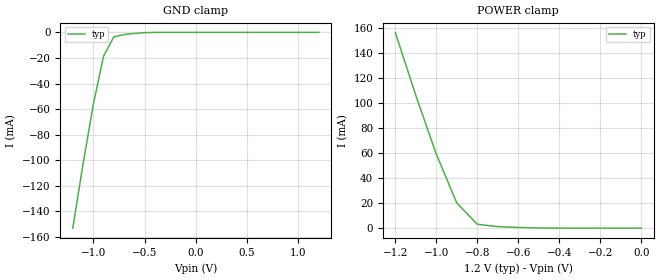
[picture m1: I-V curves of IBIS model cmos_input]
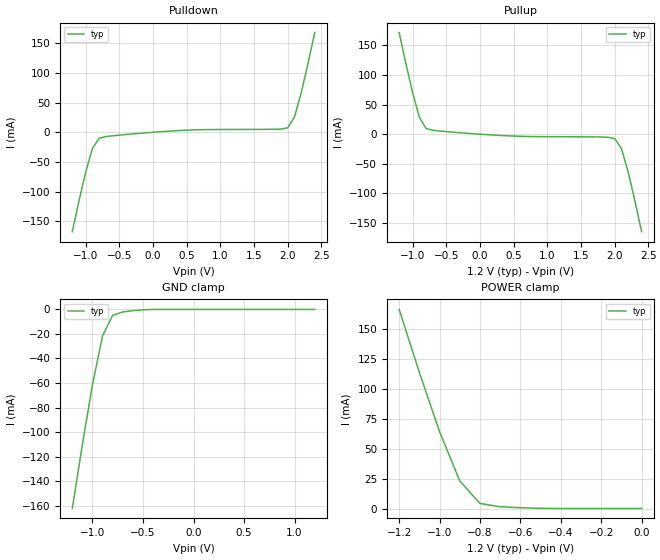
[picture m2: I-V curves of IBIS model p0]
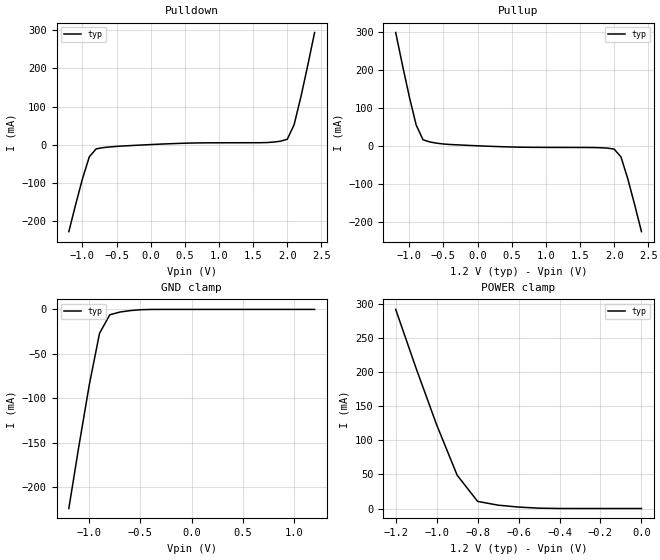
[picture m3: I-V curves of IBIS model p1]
|   This file is an IBIS representation of the   |
|   analog devices   |
|   AD9361   |
|=================== Header Section -------------------------------------------|
[IBIS Ver]  3.2
[File Name] ad9361_1p2_cmos_r2.ibs
[File Rev]  1.0
[Source]   This file originated at Analog Devices.
[Date]   10-31-2011
[Notes]   Quality Check Passes IBIS Checker.
[Disclaimer]
|   This IBIS model is provided "AS IS, Where IS, AND WITH NO
|   WARRANTY OF ANY KINND EITHER EXPRESSED OR IMPLIED, INCLUDING
|   BUT NOT LIMITED TO ANY IMPLIED WARRANTIES OF MECHANTABILITY
|   AND FITNESS FOR A PARTICULAR PURPOSE."
|   In no event will Analog Devices be liable for special, colloateral,
|   incidental, or consequential damages in connection with or
|   arising out of the use of this IBIS model. Analog Devices reserves
|   the right to make changes to the products and IBIS models without
|   prior notice.
[Copyright]   copyright (c)2010 Analog Devices, All rights reserved.
[Component] AD9361
[Manufacturer] Analog Devices
[Package]
|Variable typ   min   max
R_pkg  0.350ohms   NA   NA
L_pkg  2.0nH   NA   NA
C_pkg  .50pF   NA   NA
[Pin]   signal_name   model_name   R_pin   L_pin   C_pin
A1   RX2A_N   NC   NA   NA   NA
A2   RX2A_P   NC   NA   NA   NA
A3   RX2_SA_LNA_OUT   NC   NA   NA   NA
A4   RX2_SA_LNA_IN   NC   NA   NA   NA
A5   TX_MON2   NC   NA   NA   NA
A6   VSSA   NC   NA   NA   NA
A7   TX2A_N   NC   NA   NA   NA
A8   TX2A_P   NC   NA   NA   NA
A9   TX2B_N   NC   NA   NA   NA
A10   TX2B_P   NC   NA   NA   NA
A11   VDDA1P1_TX_VCO   NC   NA   NA   NA
A12   TX_EXT_LO_IN   NC   NA   NA   NA
B1   VSSA   GND   NA   NA   NA
B2   VSSA   GND   NA   NA   NA
B3   AUXDAC1   NC   NA   NA   NA
B4   GPO_3   GPO   NA   NA   NA
B5   GPO_2   GPO   NA   NA   NA
B6   GPO_1   GPO   NA   NA   NA
B7   GPO_0   GPO   NA   NA   NA
B8   VDDA_GPO   POWER   NA   NA   NA
B9   VDDA1P3_TX_LO   POWER   NA   NA   NA
B10   VDDA1P3_TX_VCO_LDO   POWER   NA   NA   NA
B11   TX_VCO_LDO_OUT   NC   NA   NA   NA
B12   VSSA   GND   NA   NA   NA
C1   RX2C_P   NC   NA   NA   NA
C2   VSSA   GND   NA   NA   NA
C3   AUXDAC2   NC   NA   NA   NA
C4   TEST/ENABLE   cmos_input   NA   NA   NA
C5   CTRL_IN0   cmos_input   NA   NA   NA
C6   CTRL_IN1   cmos_input   NA   NA   NA
C7   VSSA   GND   NA   NA   NA
C8   VSSA   GND   NA   NA   NA
C9   VSSA   GND   NA   NA   NA
C10   VSSA   GND   NA   NA   NA
C11   VSSA   GND   NA   NA   NA
C12   VSSA   GND   NA   NA   NA
D1   RX2C_N   NC   NA   NA   NA
D2   VDDA1P3_RX_RF   POWER   NA   NA   NA
D3   VDDA1P3_RX_TX   POWER   NA   NA   NA
D4   CTRL_OUT0   cmos_output   NA   NA   NA
D5   CTRL_IN3   cmos_input   NA   NA   NA
D6   CTRL_IN2   cmos_input   NA   NA   NA
D7   P0_D9-TX_D4_P   p0   NA   NA   NA
D8   P0_D7-TX_D3_P   p0   NA   NA   NA
D9   P0_D5-TX_D2_P   p0   NA   NA   NA
D10   P0_D3-TX_D1_P   p0   NA   NA   NA
D11   P0_D1-TX_D0_P   p0   NA   NA   NA
D12   VSSD   GND   NA   NA   NA
E1   RX2B_P   NC   NA   NA   NA
E2   VDDA1P3_RX_LO   NC   NA   NA   NA
E3   VDDA1P3_TX_LO_BUFFER  POWER   NA   NA   NA
E4   CTRL_OUT1   cmos_output   NA   NA   NA
E5   CTRL_OUT2   cmos_output   NA   NA   NA
E6   CTRL_OUT3   cmos_output   NA   NA   NA
E7   P0_D11-TX_D5_P   p0   NA   NA   NA
E8   P0_D8-TX_D4_N   p0   NA   NA   NA
E9   P0_D6-TX_D3_N   p0   NA   NA   NA
E10   P0_D4-TX_D2_N   p0   NA   NA   NA
E11   P0_D2-TX_D1_N   p0   NA   NA   NA
E12   P0_D0-TX_D0_N   p0   NA   NA   NA
F1   RX2B_N   NC   NA   NA   NA
F2   VDDA1P3_RX_VCO_LDO   POWER   NA   NA   NA
F3   VSSA   GND   NA   NA   NA
F4   CTRL_OUT6   cmos_output   NA   NA   NA
F5   CTRL_OUT5   cmos_output   NA   NA   NA
F6   CTRL_OUT4   cmos_output   NA   NA   NA
F7   VSSD   GND   NA   NA   NA
F8   P0_D10-TX_D5_N   p0   NA   NA   NA
F9   VSSD   GND   NA   NA   NA
F10   FB_CLK_P   cmos_input   NA   NA   NA
F11   VSSD   GND   NA   NA   NA
F12   VDDD1P3_DIG   POWER   NA   NA   NA
G1   RX_EXT_LO_IN   NC   NA   NA   NA
G2   RX_VCO_LDO_OUT   NC   NA   NA   NA
G3   VDDA1P1_RX_VCO   NC   NA   NA   NA
G4   CTRL_OUT7   cmos_output   NA   NA   NA
G5   EN_AGC   cmos_input   NA   NA   NA
G6   ENABLE   cmos_input   NA   NA   NA
G7   RX_FRAME_N   cmos_output   NA   NA   NA
G8   RX_FRAME_P   cmos_output   NA   NA   NA
G9   TX_FRAME_P   cmos_input   NA   NA   NA
G10   FB_CLK_N   cmos_input   NA   NA   NA
G11   DATA_CLK_P   cmos_output   NA   NA   NA
G12   VSSD   GND   NA   NA   NA
H1   RX1B_P   NC   NA   NA   NA
H2   VSSA   GND   NA   NA   NA
H3   VSSA   GND   NA   NA   NA
H4   TXNRX   cmos_input   NA   NA   NA
H5   SYNC_IN   cmos_input   NA   NA   NA
H6   REF_CLK_IN   NC   NA   NA   NA
H7   VSSD   NC   NA   NA   NA
H8   P1_D11-RX_D5_P   p1   NA   NA   NA
H9   TX_FRAME_N   cmos_input   NA   NA   NA
H10   VSSD   GND   NA   NA   NA
H11   DATA_CLK_N   cmos_output   NA   NA   NA
H12   VDD_INTERFACE   POWER   NA   NA   NA
J1   RX1B_N   NC   NA   NA   NA
J2   VSSA   GND   NA   NA   NA
J3   VDDA1P3_RX_SYNTH   POWER   NA   NA   NA
J4   SPI_DI   cmos_bidir   NA   NA   NA
J5   SPI_CLK   cmos_input   NA   NA   NA
J6   CLK_OUT   cmos_output   NA   NA   NA
J7   P1_D10-RX_D5_N   p1   NA   NA   NA
J8   P1_D9-RX_D4_P   p1   NA   NA   NA
J9   P1_D7-RX_D3_P   p1   NA   NA   NA
J10   P1_D5-RX_D2_P   p1   NA   NA   NA
J11   P1_D3-RX_D1_P   p1   NA   NA   NA
J12   P1_D1-RX_D0_P   p1   NA   NA   NA
K1   RX1C_P   NC   NA   NA   NA
K2   VSSA   GND   NA   NA   NA
K3   VDDA1P3_TX_SYNTH   POWER   NA   NA   NA
K4   VDDA1P3_BB   POWER   NA   NA   NA
K5   RESETB   cmos_input   NA   NA   NA
K6   SPI_ENB   cmos_input   NA   NA   NA
K7   P1_D8-RX_D4_N   p1   NA   NA   NA
K8   P1_D6-RX_D3_N   p1   NA   NA   NA
K9   P1_D4-RX_D2_N   p1   NA   NA   NA
K10   P1_D2-RX_D1_N   p1   NA   NA   NA
K11   P1_D0-RX_D0_N   p1   NA   NA   NA
K12   VSSD   GND   NA   NA   NA
L1   RX1C_N   NC   NA   NA   NA
L2   VSSA   GND   NA   NA   NA
L3   VSSA   GND   NA   NA   NA
L4   RBIAS   NC   NA   NA   NA
L5   AUXADC   NC   NA   NA   NA
L6   SPI_DO   cmos_out_3st   NA   NA   NA
L7   VSSA   GND   NA   NA   NA
L8   VSSA   GND   NA   NA   NA
L9   VSSA   GND   NA   NA   NA
L10   VSSA   GND   NA   NA   NA
L11   VSSA   GND   NA   NA   NA
L12   VSSA   GND   NA   NA   NA
M1   RX1A_P   NC   NA   NA   NA
M2   RX1A_N   NC   NA   NA   NA
M3   RX1_SA_LNA_OUT   NC   NA   NA   NA
M4   RX1_SA_LNA_IN   NC   NA   NA   NA
M5   TX_MON1   NC   NA   NA   NA
M6   VSSA   GND   NA   NA   NA
M7   TX1A_P   NC   NA   NA   NA
M8   TX1A_N   NC   NA   NA   NA
M9   TX1B_P   NC   NA   NA   NA
M10   TX1B_N   NC   NA   NA   NA
M11   XTALP   NC   NA   NA   NA
M12   XTALN   NC   NA   NA   NA
| Models and submodels in the file (7): cmos_input (Input), p0 (I/O), p1 (I/O), cmos_out_3st (3-state), cmos_output (Output), cmos_bidir (I/O), GPO (3-state)
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|   Note: V-I curves for all models are truncated
|   if the current exceeds ~200mA
[Model] cmos_input
Model_type Input
Vinl = 0.42
Vinh = 0.78
|   typ   min   max
C_comp  4pF   NA   NA
|   typ   min   max
[Voltage Range]   1.200V  NA   NA
[GND Clamp Reference]   0.000V  NA   NA
[POWER Clamp Reference] 1.200V  NA   NA
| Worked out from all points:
|   GND clamp passes 1 mA (typ) near -0.62 V on its own axis
|   POWER clamp passes 1 mA (typ) near -0.67 V on its own axis
[GND Clamp]
| Voltage  I(typ)   I(min)  I(max)
-1.2V     -153mA     NA         NA
-1.1V     -103.1mA   NA         NA
-1V       -56.47mA   NA         NA
-900mV    -18.66mA   NA         NA
-800mV    -3.584mA   NA         NA
-700mV    -1.725mA   NA         NA
-400mV    -23.56uA   NA         NA
1.2V      40pA       NA         NA
[POWER Clamp]
-1.2V     156.8mA    NA         NA
-1.1V     106.5mA    NA         NA
-1V       59.26mA    NA         NA
-900mV    20.15mA    NA         NA
-800mV    3.092mA    NA         NA
-700mV    1.208mA    NA         NA
-500mV    127uA      NA         NA
0V        40pA       NA         NA
[model] p0
Model_type I/O
Vinl = 0.42
Vinh = 0.78
Cref  =   3.000pF
Rref  =   10kOhm
Vref  =   1.2V
Vmeas =   0.9V
C_comp 4pF NA NA
| variable   typ   min   max
[Voltage Range]   1.200V  NA   NA
[GND Clamp Reference]   0.000V  NA   NA
[POWER Clamp Reference] 1.200V  NA   NA
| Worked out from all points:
|   slope of the pulldown table from 0 to 0.18 V, typ, clamps not added: 122 ohm
|   slope of the pullup table from 0 to 0.18 V, typ, clamps not added: 138 ohm
|   GND clamp passes 1 mA (typ) near -0.60 V on its own axis
|   POWER clamp passes 1 mA (typ) near -0.64 V on its own axis
[GND Clamp]
| Voltage  I(typ)   I(min)  I(max)
-1.2V     -162.3mA   NA         NA
-1.1V     -110.2mA   NA         NA
-1V       -61.38mA   NA         NA
-900mV    -21.55mA   NA         NA
-800mV    -4.757mA   NA         NA
-700mV    -2.081mA   NA         NA
-400mV    -32.46uA   NA         NA
1.2V      60pA       NA         NA
[POWER Clamp]
| Voltage  I(typ)   I(min)  I(max)
-1.2V     166mA      NA         NA
-1.1V     113.4mA    NA         NA
-1V       64.07mA    NA         NA
-900mV    22.95mA    NA         NA
-800mV    4.199mA    NA         NA
-700mV    1.478mA    NA         NA
-600mV    656.2uA    NA         NA
0V        60pA       NA         NA
[Pulldown]
| Voltage  I(typ)   I(min)  I(max)
-1.2V     -167.4mA   NA         NA
-1.1V     -115.4mA   NA         NA
-1V       -66.66mA   NA         NA
-900mV    -26.84mA   NA         NA
-800mV    -10.02mA   NA         NA
-500mV    -4.786mA   NA         NA
400mV     3.006mA    NA         NA
1.8V      5.083mA    NA         NA
2V        7.64mA     NA         NA
2.1V      26.12mA    NA         NA
2.2V      66.98mA    NA         NA
2.4V      168mA      NA         NA
[Pullup]
| Voltage  I(typ)   I(min)  I(max)
-1.2V     171.4mA    NA         NA
-1V       69.85mA    NA         NA
-900mV    28.62mA    NA         NA
-800mV    9.647mA    NA         NA
-500mV    4.357mA    NA         NA
300mV     -2.093mA   NA         NA
1.8V      -4.816mA   NA         NA
2V        -7.451mA   NA         NA
2.1V      -23.98mA   NA         NA
2.2V      -63.64mA   NA         NA
2.3V      -112.3mA   NA         NA
2.4V      -164.3mA   NA         NA
[Ramp]
|   typ   min   max
dV/dt_r   0.78V/.5162ns   NA   NA
dV/dt_f   0.78V/.4853ns   NA   NA
R_load=10k
|--end p0 model---------------------------------
[model] p1
Model_type I/O
Vinl = 0.42
Vinh = 0.78
Cref  =   3.000pF
Rref  =   10kOhm
Vref  =   1.2V
Vmeas =   0.9V
C_comp 4pF NA NA
| variable   typ   min   max
[Voltage Range]   1.200V  NA   NA
[GND Clamp Reference]   0.000V  NA   NA
[POWER Clamp Reference] 1.200V  NA   NA
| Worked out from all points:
|   slope of the pulldown table from 0 to 0.18 V, typ, clamps not added: 122 ohm
|   slope of the pullup table from 0 to 0.18 V, typ, clamps not added: 138 ohm
|   GND clamp passes 1 mA (typ) near -0.57 V on its own axis
|   POWER clamp passes 1 mA (typ) near -0.53 V on its own axis
[GND Clamp]
| Voltage  I(typ)   I(min)  I(max)
-1.2V     -223.7mA   NA         NA
-1.1V     -152.5mA   NA         NA
-1V       -84.64mA   NA         NA
-900mV    -26.87mA   NA         NA
-800mV    -6.052mA   NA         NA
-700mV    -2.938mA   NA         NA
-600mV    -1.328mA   NA         NA
-400mV    -31.78uA   NA         NA
1.2V      40pA       NA         NA
[POWER Clamp]
| Voltage  I(typ)   I(min)  I(max)
-1.2V     292.3mA    NA         NA
-1.1V     205.6mA    NA         NA
-1V       122.9mA    NA         NA
-900mV    48.98mA    NA         NA
-800mV    10.47mA    NA         NA
-700mV    4.912mA    NA         NA
-500mV    498.5uA    NA         NA
0V        40pA       NA         NA
[Pulldown]
| Voltage  I(typ)   I(min)  I(max)
-1.2V     -228.8mA   NA         NA
-1V       -89.91mA   NA         NA
-900mV    -32.16mA   NA         NA
-800mV    -11.31mA   NA         NA
-500mV    -4.826mA   NA         NA
300mV     2.356mA    NA         NA
1.7V      5.26mA     NA         NA
1.9V      8.81mA     NA         NA
2V        13.91mA    NA         NA
2.1V      52.14mA    NA         NA
2.2V      125.8mA    NA         NA
2.4V      294.4mA    NA         NA
[Pullup]
| Voltage  I(typ)   I(min)  I(max)
-1.2V     297.8mA    NA         NA
-1V       128.7mA    NA         NA
-900mV    54.64mA    NA         NA
-800mV    15.92mA    NA         NA
-600mV    6.887mA    NA         NA
-300mV    2.478mA    NA         NA
600mV     -3.587mA   NA         NA
1.8V      -5.118mA   NA         NA
2V        -8.745mA   NA         NA
2.1V      -29.3mA    NA         NA
2.2V      -86.9mA    NA         NA
2.4V      -225.7mA   NA         NA
[Ramp]
|   typ   min   max
dV/dt_r   0.78V/.3741255ns   NA   NA
dV/dt_f   0.78V/.3443768ns   NA   NA
R_load=10k
|--end p1 model---------------------------------
